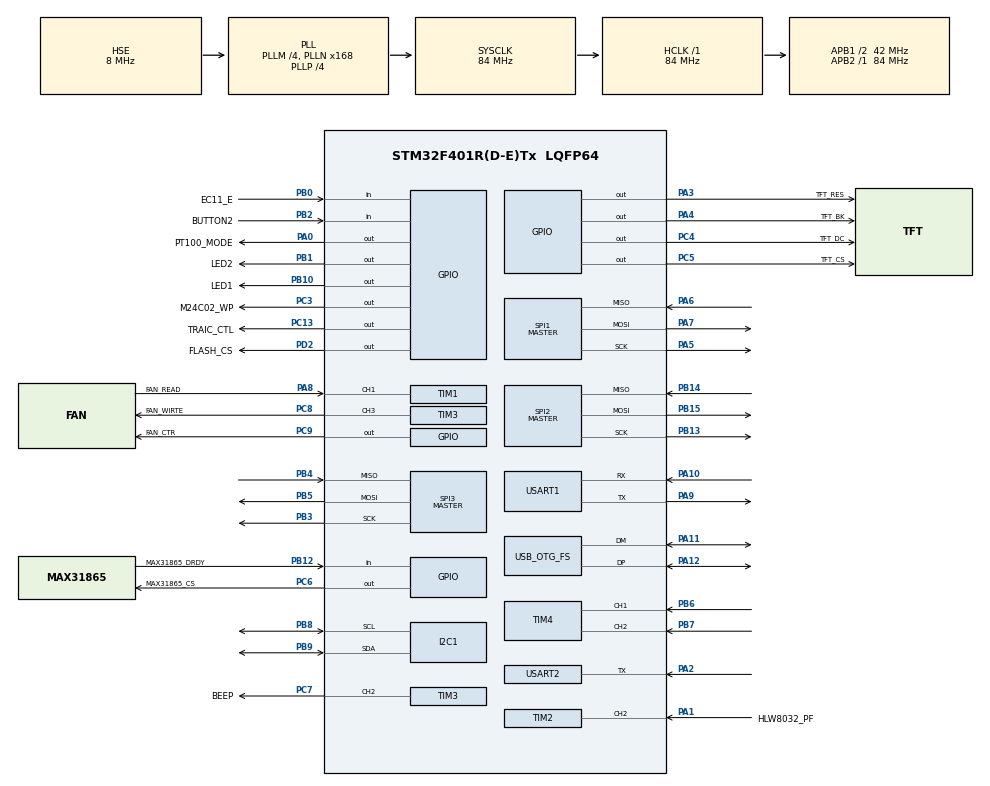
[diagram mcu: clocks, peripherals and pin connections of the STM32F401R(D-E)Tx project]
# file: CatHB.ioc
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Dma.Request0=SPI1_TX
Dma.Request1=USART2_RX
Dma.Request2=SPI2_TX
Dma.Request3=SPI2_RX
Dma.SPI1_TX.0.Direction=DMA_MEMORY_TO_PERIPH
Dma.SPI1_TX.0.FIFOMode=DMA_FIFOMODE_DISABLE
Dma.SPI1_TX.0.Instance=DMA2_Stream3
Dma.SPI1_TX.0.MemDataAlignment=DMA_MDATAALIGN_BYTE
Dma.SPI1_TX.0.MemInc=DMA_MINC_ENABLE
Dma.SPI1_TX.0.Mode=DMA_NORMAL
Dma.SPI1_TX.0.PeriphDataAlignment=DMA_PDATAALIGN_BYTE
Dma.SPI1_TX.0.PeriphInc=DMA_PINC_DISABLE
Dma.SPI1_TX.0.Priority=DMA_PRIORITY_LOW
Dma.SPI2_RX.3.Direction=DMA_PERIPH_TO_MEMORY
Dma.SPI2_RX.3.FIFOMode=DMA_FIFOMODE_DISABLE
Dma.SPI2_RX.3.Instance=DMA1_Stream3
Dma.SPI2_RX.3.MemDataAlignment=DMA_MDATAALIGN_BYTE
Dma.SPI2_RX.3.MemInc=DMA_MINC_ENABLE
Dma.SPI2_RX.3.Mode=DMA_NORMAL
Dma.SPI2_RX.3.PeriphDataAlignment=DMA_PDATAALIGN_BYTE
Dma.SPI2_RX.3.PeriphInc=DMA_PINC_DISABLE
Dma.SPI2_RX.3.Priority=DMA_PRIORITY_LOW
Dma.SPI2_TX.2.Direction=DMA_MEMORY_TO_PERIPH
Dma.SPI2_TX.2.FIFOMode=DMA_FIFOMODE_DISABLE
Dma.SPI2_TX.2.Instance=DMA1_Stream4
Dma.SPI2_TX.2.MemDataAlignment=DMA_MDATAALIGN_BYTE
Dma.SPI2_TX.2.MemInc=DMA_MINC_ENABLE
Dma.SPI2_TX.2.Mode=DMA_NORMAL
Dma.SPI2_TX.2.PeriphDataAlignment=DMA_PDATAALIGN_BYTE
Dma.SPI2_TX.2.PeriphInc=DMA_PINC_DISABLE
Dma.SPI2_TX.2.Priority=DMA_PRIORITY_LOW
Dma.USART2_RX.1.Direction=DMA_PERIPH_TO_MEMORY
Dma.USART2_RX.1.FIFOMode=DMA_FIFOMODE_DISABLE
Dma.USART2_RX.1.Instance=DMA1_Stream5
Dma.USART2_RX.1.MemDataAlignment=DMA_MDATAALIGN_BYTE
Dma.USART2_RX.1.MemInc=DMA_MINC_ENABLE
Dma.USART2_RX.1.Mode=DMA_NORMAL
Dma.USART2_RX.1.PeriphDataAlignment=DMA_PDATAALIGN_BYTE
Dma.USART2_RX.1.PeriphInc=DMA_PINC_DISABLE
Dma.USART2_RX.1.Priority=DMA_PRIORITY_LOW
FREERTOS.Mutexes01=muteLVGL,Dynamic,NULL,Available;mutexMAX31865,Dynamic,NULL,Available
FREERTOS.Tasks01=defaultTask,24,128,StartDefaultTask,Default,NULL,Dynamic,NULL,NULL;tasklvgl,8,3072,taskLvgl,Default,NULL,Dynamic,NULL,NULL;tasktempread,8,300,taskTempRead,Default,NULL,Dynamic,NULL,NULL;tasktempctr,8,350,taskTempCtr,Default,NULL,Dynamic,NULL,NULL
FREERTOS.configCHECK_FOR_STACK_OVERFLOW=1
FREERTOS.configENABLE_FPU=1
FREERTOS.configTIMER_TASK_STACK_DEPTH=1024
FREERTOS.configTOTAL_HEAP_SIZE=20480
FREERTOS.configUSE_TICK_HOOK=1
Mcu.Family=STM32F4
Mcu.Name=STM32F401R(D-E)Tx
Mcu.Package=LQFP64
NVIC.DMA1_Stream3_IRQn=true\:5\:0\:false\:false\:true\:true\:false\:true\:true
NVIC.DMA1_Stream4_IRQn=true\:5\:0\:false\:false\:true\:true\:false\:true\:true
NVIC.DMA1_Stream5_IRQn=true\:5\:0\:false\:false\:true\:true\:false\:true\:true
NVIC.DMA2_Stream3_IRQn=true\:6\:0\:true\:false\:true\:true\:false\:true\:true
NVIC.OTG_FS_IRQn=true\:7\:0\:true\:false\:true\:true\:false\:true\:true
NVIC.PriorityGroup=NVIC_PRIORITYGROUP_4
NVIC.TIM1_TRG_COM_TIM11_IRQn=true\:15\:0\:false\:false\:true\:false\:false\:true\:true
NVIC.TimeBase=TIM1_TRG_COM_TIM11_IRQn
NVIC.TimeBaseIP=TIM11
PA0-WKUP.GPIO_Label=PT100_MODE
PA0-WKUP.GPIO_Speed=GPIO_SPEED_FREQ_MEDIUM
PA0-WKUP.Signal=GPIO_Output
PA1.GPIO_Label=HLW8032_PF
PA1.GPIO_Speed=GPIO_SPEED_FREQ_HIGH
PA1.Signal=S_TIM2_CH2
PA10.Mode=Asynchronous
PA10.Signal=USART1_RX
PA11.Mode=Device_Only
PA11.Signal=USB_OTG_FS_DM
PA12.Mode=Device_Only
PA12.Signal=USB_OTG_FS_DP
PA13.Mode=Serial_Wire
PA13.Signal=SYS_JTMS-SWDIO
PA14.Mode=Serial_Wire
PA14.Signal=SYS_JTCK-SWCLK
PA2.Mode=Half_duplex(single_wire_mode)
PA2.Signal=USART2_TX
PA3.GPIO_Label=TFT_RES
PA3.GPIO_Speed=GPIO_SPEED_FREQ_VERY_HIGH
PA3.Signal=GPIO_Output
PA4.GPIO_Label=TFT_BK
PA4.GPIO_Speed=GPIO_SPEED_FREQ_VERY_HIGH
PA4.Signal=GPIO_Output
PA5.Mode=Full_Duplex_Master
PA5.Signal=SPI1_SCK
PA6.Mode=Full_Duplex_Master
PA6.Signal=SPI1_MISO
PA7.Mode=Full_Duplex_Master
PA7.Signal=SPI1_MOSI
PA8.GPIO_Label=FAN_READ
PA8.Signal=S_TIM1_CH1
PA9.Mode=Asynchronous
PA9.Signal=USART1_TX
PB0.GPIO_Label=EC11_E
PB0.Signal=GPIO_Input
PB1.GPIO_Label=LED2
PB1.Signal=GPIO_Output
PB10.GPIO_Label=LED1
PB10.Signal=GPIO_Output
PB12.GPIO_Label=MAX31865_DRDY
PB12.Signal=GPIO_Input
PB13.Mode=Full_Duplex_Master
PB13.Signal=SPI2_SCK
PB14.Mode=Full_Duplex_Master
PB14.Signal=SPI2_MISO
PB15.Mode=Full_Duplex_Master
PB15.Signal=SPI2_MOSI
PB2.GPIO_Label=BUTTON2
PB2.Signal=GPIO_Input
PB3.Mode=Full_Duplex_Master
PB3.Signal=SPI3_SCK
PB4.Mode=Full_Duplex_Master
PB4.Signal=SPI3_MISO
PB5.Mode=Full_Duplex_Master
PB5.Signal=SPI3_MOSI
PB6.Signal=S_TIM4_CH1
PB7.Signal=S_TIM4_CH2
PB8.Mode=I2C
PB8.Signal=I2C1_SCL
PB9.Mode=I2C
PB9.Signal=I2C1_SDA
PC13-ANTI_TAMP.GPIO_Label=TRAIC_CTL
PC13-ANTI_TAMP.PinState=GPIO_PIN_RESET
PC13-ANTI_TAMP.Signal=GPIO_Output
PC3.GPIO_Label=M24C02_WP
PC3.GPIO_Speed=GPIO_SPEED_FREQ_MEDIUM
PC3.Signal=GPIO_Output
PC4.GPIO_Label=TFT_DC
PC4.GPIO_Speed=GPIO_SPEED_FREQ_VERY_HIGH
PC4.Signal=GPIO_Output
PC5.GPIO_Label=TFT_CS
PC5.GPIO_Speed=GPIO_SPEED_FREQ_VERY_HIGH
PC5.Signal=GPIO_Output
PC6.GPIO_Label=MAX31865_CS
PC6.GPIO_Speed=GPIO_SPEED_FREQ_HIGH
PC6.Signal=GPIO_Output
PC7.GPIO_Label=BEEP
PC7.Signal=S_TIM3_CH2
PC8.GPIO_Label=FAN_WIRTE
PC8.Signal=S_TIM3_CH3
PC9.GPIO_Label=FAN_CTR
PC9.GPIO_Speed=GPIO_SPEED_FREQ_MEDIUM
PC9.Signal=GPIO_Output
PD2.GPIO_Label=FLASH_CS
PD2.GPIO_Speed=GPIO_SPEED_FREQ_VERY_HIGH
PD2.Signal=GPIO_Output
PH0\ -\ OSC_IN.Mode=HSE-External-Oscillator
PH0\ -\ OSC_IN.Signal=RCC_OSC_IN
PH1\ -\ OSC_OUT.Mode=HSE-External-Oscillator
PH1\ -\ OSC_OUT.Signal=RCC_OSC_OUT
ProjectManager.HeapSize=0x1500
ProjectManager.StackSize=0x400
ProjectManager.TargetToolchain=CMake
RCC.48MHZClocksFreq_Value=48000000
RCC.AHBFreq_Value=84000000
RCC.APB1CLKDivider=RCC_HCLK_DIV2
RCC.APB1Freq_Value=42000000
RCC.APB1TimFreq_Value=84000000
RCC.APB2Freq_Value=84000000
RCC.APB2TimFreq_Value=84000000
RCC.CortexFreq_Value=84000000
RCC.HCLKFreq_Value=84000000
RCC.HSE_VALUE=8000000
RCC.HSI_VALUE=16000000
RCC.LSE_VALUE=32768
RCC.PLLM=4
RCC.PLLN=168
RCC.PLLP=RCC_PLLP_DIV4
RCC.PLLQ=7
RCC.SYSCLKFreq_VALUE=84000000
RCC.SYSCLKSource=RCC_SYSCLKSOURCE_PLLCLK
RCC.VCOOutputFreq_Value=336000000
SH.S_TIM1_CH1.0=TIM1_CH1,Input_Capture1_from_TI1
SH.S_TIM2_CH2.0=TIM2_CH2,Input_Capture2_from_TI2
SH.S_TIM3_CH2.0=TIM3_CH2,PWM Generation2 CH2
SH.S_TIM3_CH3.0=TIM3_CH3,PWM Generation3 CH3
SH.S_TIM4_CH1.0=TIM4_CH1,Encoder_Interface
SH.S_TIM4_CH2.0=TIM4_CH2,Encoder_Interface
SPI1.CLKPhase=SPI_PHASE_2EDGE
SPI1.CLKPolarity=SPI_POLARITY_HIGH
SPI1.Direction=SPI_DIRECTION_2LINES
SPI1.Mode=SPI_MODE_MASTER
SPI1.VirtualType=VM_MASTER
SPI2.BaudRatePrescaler=SPI_BAUDRATEPRESCALER_16
SPI2.Direction=SPI_DIRECTION_2LINES
SPI2.Mode=SPI_MODE_MASTER
SPI2.VirtualType=VM_MASTER
SPI3.Direction=SPI_DIRECTION_2LINES
SPI3.Mode=SPI_MODE_MASTER
SPI3.VirtualType=VM_MASTER
TIM1.Channel-Input_Capture1_from_TI1=TIM_CHANNEL_1
TIM2.Channel-Input_Capture2_from_TI2=TIM_CHANNEL_2
TIM3.AutoReloadPreload=TIM_AUTORELOAD_PRELOAD_ENABLE
TIM3.Channel-PWM\ Generation2\ CH2=TIM_CHANNEL_2
TIM3.Channel-PWM\ Generation3\ CH3=TIM_CHANNEL_3
TIM3.Period=100
TIM3.Prescaler=84
TIM4.EncoderMode=TIM_ENCODERMODE_TI12
TIM4.IC1Filter=4
USART1.VirtualMode=VM_ASYNC
USART2.BaudRate=4800
USART2.Mode=MODE_RX
USART2.OverSampling=UART_OVERSAMPLING_8
USART2.VirtualMode=VM_ASYNC
USB_DEVICE.CLASS_NAME_FS=MSC
USB_DEVICE.VirtualMode-MSC_FS=Msc
USB_DEVICE.VirtualModeFS=Msc_FS
USB_OTG_FS.VirtualMode=Device_Only
VP_FATFS_VS_Generic.Mode=User_defined
VP_FREERTOS_VS_CMSIS_V2.Mode=CMSIS_V2
VP_SYS_VS_tim11.Mode=TIM11
VP_USB_DEVICE_VS_USB_DEVICE_MSC_FS.Mode=MSC_FS
board=custom

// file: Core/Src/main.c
/* USER CODE BEGIN Header */
/**
 ******************************************************************************
 * @file           : main.c
 * @brief          : Main program body
 ******************************************************************************
 * @attention
 *
 * Copyright (c) 2025 STMicroelectronics.
 * All rights reserved.
 *
 * This software is licensed under terms that can be found in the LICENSE file
 * in the root directory of this software component.
 * If no LICENSE file comes with this software, it is provided AS-IS.
 *
 ******************************************************************************
 */
/* USER CODE END Header */
#include "main.h"
#include "cmsis_os.h"
#include "dma.h"
#include "fatfs.h"
#include "i2c.h"
#include "spi.h"
#include "tim.h"
#include "usart.h"
#include "usb_device.h"
#include "gpio.h"

/* USER CODE BEGIN Includes */
// #include <stdint.h>
#include "lvgl.h"
#include "gui_guider.h"
#include "events_init.h"
#include "hardware_list.h"
/* USER CODE END Includes */

/* USER CODE BEGIN PTD */
UIINDEX uiIndex = UISTART;
/* USER CODE END PTD */

/* USER CODE BEGIN PV */
lv_ui guider_ui;
/* USER CODE END PV */

void SystemClock_Config(void);
void MX_FREERTOS_Init(void);

int main(void)
{

  /* MCU Configuration--------------------------------------------------------*/

  /* Reset of all peripherals, Initializes the Flash interface and the Systick. */
  HAL_Init();

  /* Configure the system clock */
  SystemClock_Config();

  /* Initialize all configured peripherals */
  MX_GPIO_Init();
  MX_DMA_Init();
  MX_I2C1_Init();
  MX_SPI1_Init();
  MX_SPI2_Init();
  MX_SPI3_Init();
  MX_TIM1_Init();
  MX_TIM2_Init();
  MX_TIM3_Init();
  MX_TIM4_Init();
  MX_USART1_UART_Init();
  MX_USART2_UART_Init();
  MX_FATFS_Init();
  /* USER CODE BEGIN 2 */
  /**** 关闭可控硅 ****/
  HAL_GPIO_WritePin(FAN_CTR_GPIO_Port, FAN_CTR_Pin, GPIO_PIN_RESET);
  HAL_Delay(1000);
  HAL_GPIO_WritePin(FAN_CTR_GPIO_Port, FAN_CTR_Pin, GPIO_PIN_SET);
  /**** LED灯熄灭 ****/
  // HAL_GPIO_WritePin(LED1_GPIO_Port, LED1_Pin, GPIO_PIN_RESET);
  // HAL_GPIO_WritePin(LED2_GPIO_Port, LED2_Pin, GPIO_PIN_RESET);
  /**** 启动PWM输出 ****/
  // HAL_TIM_PWM_Start(&htim3, TIM_CHANNEL_2);        // 启动 TIM3 通道1 的 PWM
  // __HAL_TIM_SET_COMPARE(&htim3, TIM_CHANNEL_2, 0); // 设置通道1的Pulse为300
  /**** lcd init ****/
  app_LcdInit();
  MAX31865_MODE_24W;
  app_MAX31865Init();
  uiIndex = UINONE;
  /**** start encoder ****/
  HAL_TIM_Encoder_Start(&htim4, TIM_CHANNEL_ALL);
  // app_LcdClear();
  /**** lvgl init ****/
  lv_init();
  lv_port_disp_init();
  lv_port_indev_init();
  setup_ui(&guider_ui);
  events_init(&guider_ui);
  /* USER CODE END 2 */

  /* Init scheduler */
  osKernelInitialize();  /* Call init function for freertos objects (in cmsis_os2.c) */
  MX_FREERTOS_Init();

  /* Start scheduler */
  osKernelStart();

  /* We should never get here as control is now taken by the scheduler */

  /* Infinite loop */
  /* USER CODE BEGIN WHILE */
  while (1) {
    // app_LcdTest();
    // HAL_Delay(500);
    // lv_timer_handler();
    HAL_Delay(5);
    // static uint8_t toggle = 0;
    // HAL_GPIO_TogglePin(TRAIC_CTL_GPIO_Port, TRAIC_CTL_Pin);
    // HAL_Delay(500);
    // HAL_GPIO_TogglePin(FAN_CTR_GPIO_Port, FAN_CTR_Pin);
    // HAL_Delay(500);
    // __HAL_TIM_SET_COMPARE(&htim3, TIM_CHANNEL_2, 500); // 设置通道1的Pulse为300
    // HAL_Delay(50);
    // __HAL_TIM_SET_COMPARE(&htim3, TIM_CHANNEL_2, 0); // 设置通道1的Pulse为300
    // HAL_GPIO_TogglePin(PT100_MODE_GPIO_Port, PT100_MODE_Pin);
    // HAL_Delay(500);
    /* USER CODE END WHILE */

  }
}

void SystemClock_Config(void)
{
  RCC_OscInitTypeDef RCC_OscInitStruct = {0};
  RCC_ClkInitTypeDef RCC_ClkInitStruct = {0};

  /** Configure the main internal regulator output voltage
  */
  __HAL_RCC_PWR_CLK_ENABLE();
  __HAL_PWR_VOLTAGESCALING_CONFIG(PWR_REGULATOR_VOLTAGE_SCALE2);

  /** Initializes the RCC Oscillators according to the specified parameters
  * in the RCC_OscInitTypeDef structure.
  */
  RCC_OscInitStruct.OscillatorType = RCC_OSCILLATORTYPE_HSE;
  RCC_OscInitStruct.HSEState = RCC_HSE_ON;
  RCC_OscInitStruct.PLL.PLLState = RCC_PLL_ON;
  RCC_OscInitStruct.PLL.PLLSource = RCC_PLLSOURCE_HSE;
  RCC_OscInitStruct.PLL.PLLM = 4;
  RCC_OscInitStruct.PLL.PLLN = 168;
  RCC_OscInitStruct.PLL.PLLP = RCC_PLLP_DIV4;
  RCC_OscInitStruct.PLL.PLLQ = 7;
  if (HAL_RCC_OscConfig(&RCC_OscInitStruct) != HAL_OK)
  {
    Error_Handler();
  }

  /** Initializes the CPU, AHB and APB buses clocks
  */
  RCC_ClkInitStruct.ClockType = RCC_CLOCKTYPE_HCLK|RCC_CLOCKTYPE_SYSCLK
                              |RCC_CLOCKTYPE_PCLK1|RCC_CLOCKTYPE_PCLK2;
  RCC_ClkInitStruct.SYSCLKSource = RCC_SYSCLKSOURCE_PLLCLK;
  RCC_ClkInitStruct.AHBCLKDivider = RCC_SYSCLK_DIV1;
  RCC_ClkInitStruct.APB1CLKDivider = RCC_HCLK_DIV2;
  RCC_ClkInitStruct.APB2CLKDivider = RCC_HCLK_DIV1;

  if (HAL_RCC_ClockConfig(&RCC_ClkInitStruct, FLASH_LATENCY_2) != HAL_OK)
  {
    Error_Handler();
  }
}

void HAL_TIM_PeriodElapsedCallback(TIM_HandleTypeDef *htim)
{
  if (htim->Instance == TIM11)
  {
    HAL_IncTick();
  }
}

void Error_Handler(void)
{
  __disable_irq();
  while (1) {
  }
}
#ifdef USE_FULL_ASSERT
/**
  * @brief  Reports the name of the source file and the source line number
  *         where the assert_param error has occurred.
  * @param  file: pointer to the source file name
  * @param  line: assert_param error line source number
  * @retval None
  */
void assert_failed(uint8_t *file, uint32_t line)
{
  /* USER CODE BEGIN 6 */
  /* User can add his own implementation to report the file name and line
     number, ex: printf("Wrong parameters value: file %s on line %d\r\n", file,
     line) */
  /* USER CODE END 6 */
}
#endif /* USE_FULL_ASSERT */

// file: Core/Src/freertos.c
/* USER CODE BEGIN Header */
/**
 ******************************************************************************
 * File Name          : freertos.c
 * Description        : Code for freertos applications
 ******************************************************************************
 * @attention
 *
 * Copyright (c) 2025 STMicroelectronics.
 * All rights reserved.
 *
 * This software is licensed under terms that can be found in the LICENSE file
 * in the root directory of this software component.
 * If no LICENSE file comes with this software, it is provided AS-IS.
 *
 ******************************************************************************
 */
/* USER CODE END Header */

#include "FreeRTOS.h"
#include "task.h"
#include "main.h"
#include "cmsis_os.h"

/* USER CODE BEGIN Includes */
#include "gui_guider.h"
#include "hardware_list.h"
#include "lvgl.h"
#include <math.h>
#include <stdbool.h>
#include <stdint.h>
#include <stdio.h>
#include <stdlib.h>
#include <string.h>

/* USER CODE END Includes */

/* USER CODE BEGIN PM */
bool tempChangeFlag = 0;

/* USER CODE END PM */

/* Definitions for defaultTask */
osThreadId_t defaultTaskHandle;
const osThreadAttr_t defaultTask_attributes = {
  .name = "defaultTask",
  .stack_size = 128 * 4,
  .priority = (osPriority_t) osPriorityNormal,
};
/* Definitions for tasklvgl */
osThreadId_t tasklvglHandle;
const osThreadAttr_t tasklvgl_attributes = {
  .name = "tasklvgl",
  .stack_size = 3072 * 4,
  .priority = (osPriority_t) osPriorityLow,
};
/* Definitions for tasktempread */
osThreadId_t tasktempreadHandle;
const osThreadAttr_t tasktempread_attributes = {
  .name = "tasktempread",
  .stack_size = 300 * 4,
  .priority = (osPriority_t) osPriorityLow,
};
/* Definitions for tasktempctr */
osThreadId_t tasktempctrHandle;
const osThreadAttr_t tasktempctr_attributes = {
  .name = "tasktempctr",
  .stack_size = 350 * 4,
  .priority = (osPriority_t) osPriorityLow,
};
/* Definitions for muteLVGL */
osMutexId_t muteLVGLHandle;
const osMutexAttr_t muteLVGL_attributes = {
  .name = "muteLVGL"
};
/* Definitions for mutexMAX31865 */
osMutexId_t mutexMAX31865Handle;
const osMutexAttr_t mutexMAX31865_attributes = {
  .name = "mutexMAX31865"
};

void StartDefaultTask(void *argument);
void taskLvgl(void *argument);
void taskTempRead(void *argument);
void taskTempCtr(void *argument);

extern void MX_USB_DEVICE_Init(void);
void MX_FREERTOS_Init(void); /* (MISRA C 2004 rule 8.1) */

/* Hook prototypes */
void vApplicationTickHook(void);
void vApplicationStackOverflowHook(xTaskHandle xTask, signed char *pcTaskName);

/* USER CODE BEGIN 3 */
void vApplicationTickHook(void) {
  /* This function will be called by each tick interrupt if
  configUSE_TICK_HOOK is set to 1 in FreeRTOSConfig.h. User code can be
  added here, but the tick hook is called from an interrupt context, so
  code must not attempt to block, and only the interrupt safe FreeRTOS API
  functions can be used (those that end in FromISR()). */
  lv_tick_inc(1);
}
/* USER CODE END 3 */

/* USER CODE BEGIN 4 */
void vApplicationStackOverflowHook(xTaskHandle xTask, signed char *pcTaskName) {
  /* Run time stack overflow checking is performed if
  configCHECK_FOR_STACK_OVERFLOW is defined to 1 or 2. This hook function is
  called if a stack overflow is detected. */
  HAL_GPIO_WritePin(LED2_GPIO_Port, LED2_Pin, GPIO_PIN_SET);
}
/* USER CODE END 4 */

void MX_FREERTOS_Init(void) {
  /* Create the mutex(es) */
  /* creation of muteLVGL */
  muteLVGLHandle = osMutexNew(&muteLVGL_attributes);

  /* creation of mutexMAX31865 */
  mutexMAX31865Handle = osMutexNew(&mutexMAX31865_attributes);

  /* Create the thread(s) */
  /* creation of defaultTask */
  defaultTaskHandle = osThreadNew(StartDefaultTask, NULL, &defaultTask_attributes);

  /* creation of tasklvgl */
  tasklvglHandle = osThreadNew(taskLvgl, NULL, &tasklvgl_attributes);

  /* creation of tasktempread */
  tasktempreadHandle = osThreadNew(taskTempRead, NULL, &tasktempread_attributes);

  /* creation of tasktempctr */
  tasktempctrHandle = osThreadNew(taskTempCtr, NULL, &tasktempctr_attributes);

}

void StartDefaultTask(void *argument)
{
  /* init code for USB_DEVICE */
  MX_USB_DEVICE_Init();
  /* USER CODE BEGIN StartDefaultTask */
  HAL_GPIO_WritePin(LED2_GPIO_Port, LED2_Pin,
                    !HAL_GPIO_ReadPin(LED1_GPIO_Port, LED1_Pin));
  /* Infinite loop */
  for (;;) {
    HAL_GPIO_TogglePin(LED1_GPIO_Port, LED1_Pin);
    HAL_GPIO_TogglePin(LED2_GPIO_Port, LED2_Pin);
    // HAL_GPIO_TogglePin(TRAIC_CTL_GPIO_Port, TRAIC_CTL_Pin);
    osDelay(500);
  }
  /* USER CODE END StartDefaultTask */
}

void taskLvgl(void *argument)
{
  /* USER CODE BEGIN taskLvgl */
  /* Infinite loop */
  for (;;) {
    // 获取互斥锁
    while (osMutexAcquire(muteLVGLHandle, 50) != osOK)
      ;
    lv_task_handler(); // 处理LVGL任务
    // 释放互斥锁
    osMutexRelease(muteLVGLHandle);
    osDelay(2);
  }
  /* USER CODE END taskLvgl */
}

void taskTempRead(void *argument)
{
  /* USER CODE BEGIN taskTempRead */
  static char intBuf[7]; // 整数位缓冲区（固定大小，全局复用）
  static char decBuf[4]; // 小数位缓冲区（固定大小，全局复用）
  /* Infinite loop */
  for (;;) {
    if (uiIndex == UIHOTBOARD) {
      osDelay(3);
      app_MAX31865Read();

      // // 统一获取互斥锁（提前获取，减少重复调用，降低锁竞争频率）
      // while (osMutexAcquire(muteLVGLHandle, 50) != osOK)
      //   ;

      // 统一获取互斥锁（提前获取，减少重复调用，降低锁竞争频率）
      while (osMutexAcquire(muteLVGLHandle, 50) != osOK)
        ;

      if (hmax31865.max_status == MAX31865OK) {
        // 状态正常：更新温度显示
        float temp = hmax31865.max_rtdData.temperature;
        char sign = (temp >= 0) ? ' ' : '-';
        float abs_temp = fabsf(temp);
        uint16_t integer = (uint16_t)floorf(abs_temp);

        // 更新符号（仅变化时刷新）
        const char *currentSymbol =
            lv_label_get_text(guider_ui.Hot_Board_label_symbol);
        if (currentSymbol[0] != sign) {
          lv_label_set_text(guider_ui.Hot_Board_label_symbol,
                            (sign == ' ') ? " " : "-");
        }

        // 更新整数位（复用静态缓冲区，减少栈内存分配）
        snprintf(intBuf, sizeof(intBuf), "%3d", integer);
        const char *currentInt =
            lv_label_get_text(guider_ui.Hot_Board_label_Integer);
        if (currentInt[0] == '-' || currentInt[0] == '.' ||
            atoi(currentInt) != integer) {
          lv_label_set_text(guider_ui.Hot_Board_label_Integer, intBuf);
        }

        // 更新小数位（复用静态缓冲区，简化计算）
        uint8_t decimal = (uint8_t)((abs_temp - integer) * 10);
        snprintf(decBuf, sizeof(decBuf), "%1d", decimal);
        const char *currentDec =
            lv_label_get_text(guider_ui.Hot_Board_label_decimal);
        if (strcmp(currentDec, decBuf) != 0) {
          lv_label_set_text(guider_ui.Hot_Board_label_decimal, decBuf);
        }
      } else if (hmax31865.max_status == MAX31865NOTRADY) {
        // 状态未就绪：显示"---"
        lv_label_set_text(guider_ui.Hot_Board_label_Integer, "---");
        // 可同时清空符号和小数位（避免状态切换时显示残留）
        lv_label_set_text(guider_ui.Hot_Board_label_symbol, " ");
        lv_label_set_text(guider_ui.Hot_Board_label_decimal, " ");
      } else {
        // 其他错误状态：显示".--"
        lv_label_set_text(guider_ui.Hot_Board_label_Integer, ".--");
        // 清空符号和小数位，避免残留
        lv_label_set_text(guider_ui.Hot_Board_label_symbol, " ");
        lv_label_set_text(guider_ui.Hot_Board_label_decimal, " ");
      }

      // 统一释放互斥锁
      osMutexRelease(muteLVGLHandle);
    }
    osDelay(150);
  }
  /* USER CODE END taskTempRead */
}

void taskTempCtr(void *argument)
{
  /* USER CODE BEGIN taskTempCtr */
  HAL_GPIO_WritePin(TRAIC_CTL_GPIO_Port, TRAIC_CTL_Pin, GPIO_PIN_RESET);
  // 初始化
  TRAIC_ParamInit();
  static float last_temp_set = 0.0f; // 静态变量记录上一次设定值
  // 假设温度传感器初始化（示例）
  // HMAX31865_Init();

  for (;;) {
    // 2. 读取当前温度
    htraic.tempCtr.temp_current = hmax31865.max_rtdData.temperature;

    // 1. 加热使能检测
    if (!htraic.traicStatus.TRAICENSTATUS) {
        htraic.tempCtr.current_on_ms = 0;
        htraic.tempCtr.record_cnt = 0;
        osDelay(500);
        continue;
    }

    // 3. 计算占空比
    TRAIC_CalcDynamicPower();

    //  // 在读取当前温度后添加：
    // if (fabs(htraic.tempCtr.temp_set - last_temp_set) > 0.1f) {
    //     htraic.temp_set_changed = true;
    //     last_temp_set = htraic.tempCtr.temp_set;
    // }

    // （此处仅为框架，需根据实际传感器驱动实现）

    // 2. 检查设定温度有效性
    // if (htraic.tempCtr.temp_set < htraic.tempProfile.min_temp_limit ||
    //     htraic.tempCtr.temp_set > htraic.tempProfile.max_temp_limit) {
    //   htraic.tempCtr.current_on_ms = 0;
    //   htraic.traicStatus.TRAICRUNSTATUS = false;
    //   osDelay(htraic.tempProfile.control_period);
    //   continue;
    // }

    // 3. 计算功率
    // TRAIC_CalcDynamicPower();

    // 4. 执行加热
    TRAIC_ExecuteHeating();

    // 5. 风扇控制（示例：温度＞100℃或加热时启动）
    htraic.fanStatus.FANRUNSTATUS = (htraic.tempCtr.temp_current > 100.0f) ||
                                    (htraic.traicStatus.TRAICRUNSTATUS);
  }
  /* USER CODE END taskTempCtr */
}
